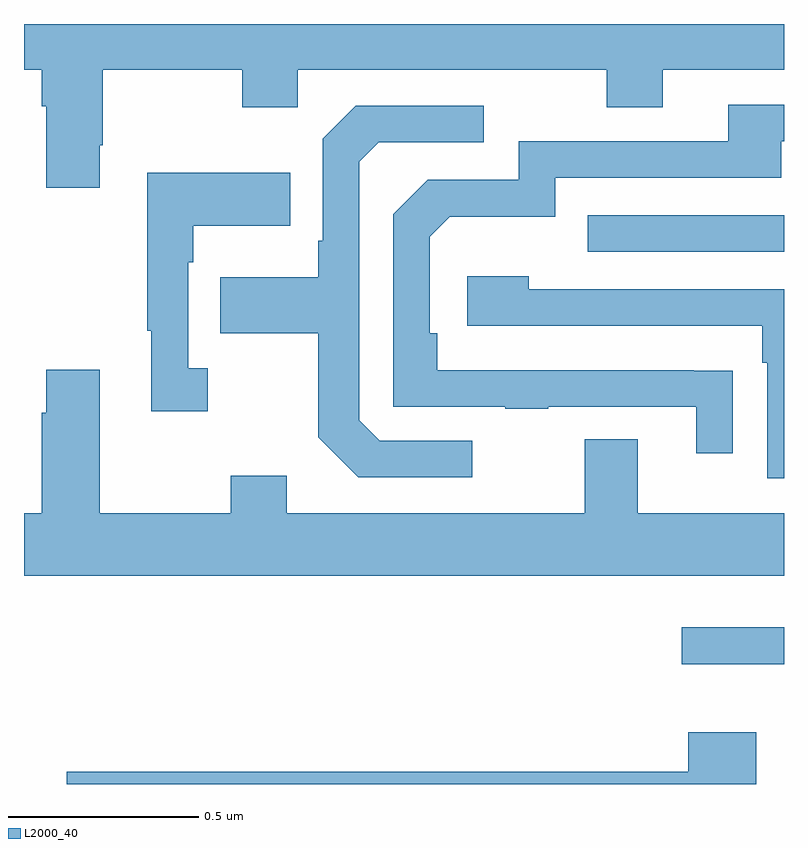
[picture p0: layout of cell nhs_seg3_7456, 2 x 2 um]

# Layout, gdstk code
import gdstk
lib = gdstk.Library(unit=1e-6, precision=1e-09)
def R(c, l, rs):  # rectangles x0, y0, x1, y1
    for r in rs: c.add(gdstk.rectangle(r[:2], r[2:], *l))
def P(c, l, *ps):  # polygons
    for p in ps: c.add(gdstk.Polygon(p, *l))
L2000_40 = (2000, 40)

nhs_seg3_7456 = lib.new_cell('nhs_seg3_7456')
R(nhs_seg3_7456, L2000_40, [(205.731,668.715,206,668.812), (205.483,669.801,206,669.897)])
P(nhs_seg3_7456, L2000_40, [(204.199,670.081),(204.207,670.081),(204.207,670.28),(204.574,670.28),(204.574,670.181),(204.72,670.181),(204.72,670.28),(205.534,670.28),(205.534,670.181),(205.681,670.181),(205.681,670.28),(206,670.28),(206,670.4),(204,670.4),(204,670.28),(204.047,670.28),(204.047,670.184),(204.059,670.184),(204.059,669.969),(204.199,669.969)],
  [(205.865,669.488),(205.763,669.488),(205.763,669.489),(205.088,669.489),(205.088,669.586),(205.068,669.586),(205.068,669.84),(205.121,669.893),(205.398,669.893),(205.398,669.996),(205.993,669.996),(205.993,670.092),(206,670.092),(206,670.188),(205.853,670.188),(205.853,670.092),(205.302,670.092),(205.302,669.99),(205.062,669.99),(204.972,669.9),(204.972,669.393),(205.267,669.393),(205.267,669.388),(205.379,669.388),(205.379,669.393),(205.769,669.393),(205.769,669.27),(205.865,669.27)],
  [(205.18,669.303),(204.936,669.303),(204.882,669.357),(204.882,670.038),(204.933,670.089),(205.21,670.089),(205.21,670.185),(204.873,670.185),(204.786,670.098),(204.786,669.829),(204.774,669.829),(204.774,669.733),(204.517,669.733),(204.517,669.586),(204.774,669.586),(204.774,669.313),(204.879,669.207),(205.18,669.207)],
  [(204.484,669.494),(204.432,669.494),(204.432,669.773),(204.445,669.773),(204.445,669.869),(204.701,669.869),(204.701,670.009),(204.324,670.009),(204.324,669.593),(204.335,669.593),(204.335,669.381),(204.484,669.381)],
  [(206,669.702),(205.328,669.702),(205.328,669.736),(205.167,669.736),(205.167,669.606),(205.943,669.606),(205.943,669.509),(205.956,669.509),(205.956,669.204),(206,669.204)],
  [(206,669.112),(205.615,669.112),(205.615,669.307),(205.475,669.307),(205.475,669.112),(204.691,669.112),(204.691,669.211),(204.544,669.211),(204.544,669.112),(204.199,669.112),(204.199,669.49),(204.059,669.49),(204.059,669.377),(204.047,669.377),(204.047,669.112),(204,669.112),(204,668.948),(206,668.948)],
  [(205.927,668.536),(205.748,668.536),(205.748,668.432),(204.113,668.432),(204.113,668.4),(205.927,668.4)])

lib.write_gds('nhs_seg3_7456.gds')
